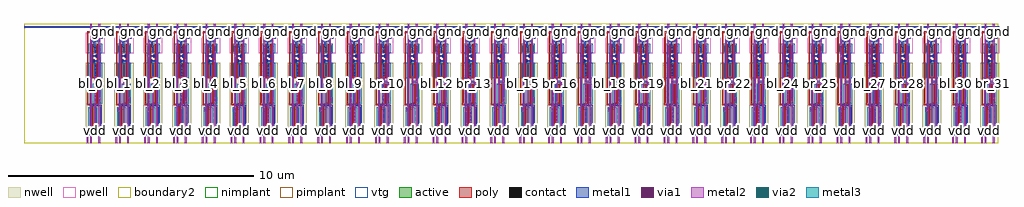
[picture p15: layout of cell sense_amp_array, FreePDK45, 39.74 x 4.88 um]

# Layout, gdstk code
import gdstk
lib = gdstk.Library(unit=1e-6, precision=5e-10)
def R(c, l, rs):  # rectangles x0, y0, x1, y1
    for r in rs: c.add(gdstk.rectangle(r[:2], r[2:], *l))
def A(c, l, x, y, w, h, nx, ny, dx, dy):  # array of equal rectangles
    R(c, l, [(x+i*dx, y+j*dy, x+i*dx+w, y+j*dy+h) for i in range(nx) for j in range(ny)])
active = (1, 0)
pwell = (2, 0)
nwell = (3, 0)
nimplant = (4, 0)
pimplant = (5, 0)
vtg = (6, 0)
poly = (9, 0)
contact = (10, 0)
metal1 = (11, 0)
via1 = (12, 0)
metal2 = (13, 0)
via2 = (14, 0)
metal3 = (15, 0)
boundary2 = (239, 0)

sense_amp = lib.new_cell('sense_amp')
R(sense_amp, active, [(0.3075,0.455,0.3975,0.545), (0.1275,0.695,0.3875,1.415), (0.1275,0.695,0.2025,1.415), (0.1275,0.695,0.2025,1.415), (0.3125,0.695,0.3875,1.415), (0.3125,0.695,0.3875,1.415), (0.1275,0.78,0.2025,1.415), (0.3125,0.78,0.3875,1.415), (0.3175,1.665,0.5775,2.385), (0.3175,1.665,0.3925,2.385), (0.3175,1.665,0.3925,2.385), (0.5025,1.665,0.5775,2.385), (0.5025,1.665,0.5775,2.385), (0.3175,1.75,0.3925,2.385), (0.5025,1.75,0.5775,2.385), (0.1275,2.7025,0.2025,3.1975), (0.1275,2.7025,0.3875,3.2425), (0.1275,2.7025,0.2025,3.2425), (0.1275,2.7025,0.2025,3.2425), (0.3125,2.7025,0.3875,3.1975), (0.3125,2.7025,0.3875,3.2425), (0.3125,2.7025,0.3875,3.2425), (0.3175,2.7025,0.3925,3.1975), (0.3175,2.7025,0.5775,3.2425), (0.3175,2.7025,0.3925,3.2425), (0.3175,2.7025,0.3925,3.2425), (0.5025,2.7025,0.5775,3.1975), (0.5025,2.7025,0.5775,3.2425), (0.5025,2.7025,0.5775,3.2425), (0.1275,3.7275,0.2025,3.9425), (0.1275,3.7275,0.3875,3.9975), (0.1275,3.7275,0.2025,3.9975), (0.1275,3.7275,0.2025,3.9975), (0.3125,3.7275,0.3875,3.9425), (0.3125,3.7275,0.3875,3.9975), (0.3125,3.7275,0.3875,3.9975), (0.3175,3.7275,0.3925,3.9425), (0.3175,3.7275,0.5775,3.9975), (0.3175,3.7275,0.3925,3.9975), (0.3175,3.7275,0.3925,3.9975), (0.5025,3.7275,0.5775,3.9425), (0.5025,3.7275,0.5775,3.9975), (0.5025,3.7275,0.5775,3.9975), (0.2275,4.185,0.3025,4.4), (0.2275,4.185,0.4875,4.455), (0.2275,4.185,0.3025,4.455), (0.2275,4.185,0.3025,4.455), (0.4125,4.185,0.4875,4.4), (0.4125,4.185,0.4875,4.455), (0.4125,4.185,0.4875,4.455), (0.58,4.295,0.67,4.385)])
R(sense_amp, pwell, [(-0.035,3.6725,0.74,4.51), (0.0725,3.6725,0.4425,4.0525), (0.2625,3.6725,0.6325,4.0525), (0.1725,4.13,0.5425,4.51), (0.525,4.24,0.725,4.44)])
R(sense_amp, nwell, [(-0.035,0.4,0.74,3.2975), (0.2525,0.4,0.4525,0.6), (0.0725,0.64,0.4425,1.47), (0.2625,1.61,0.6325,2.44), (0.0725,2.6475,0.4425,3.2975), (0.2625,2.6475,0.6325,3.2975)])
R(sense_amp, nimplant, [(0.3075,0.455,0.3975,0.545), (0.1275,3.7275,0.3875,3.9975), (0.3175,3.7275,0.5775,3.9975), (0.2275,4.185,0.4875,4.455)])
R(sense_amp, pimplant, [(0.1275,0.695,0.3875,1.415), (0.3175,1.665,0.5775,2.385), (0.1275,2.7025,0.3875,3.2425), (0.3175,2.7025,0.5775,3.2425), (0.58,4.295,0.67,4.385)])
R(sense_amp, vtg, [(0.0725,0.64,0.4425,1.47), (0.2625,1.61,0.6325,2.44), (0.0725,2.6475,0.4425,3.2975), (0.2625,2.6475,0.6325,3.2975), (0.0725,3.6725,0.4425,4.0525), (0.2625,3.6725,0.6325,4.0525), (0.1725,4.13,0.5425,4.51)])
R(sense_amp, poly, [(0.2325,0.64,0.2825,0.695), (0.2325,0.64,0.2825,1.47), (0.2325,1.415,0.2825,1.47), (0.2325,1.47,0.2825,1.56), (0.0275,1.56,0.4725,1.61), (0.0275,1.61,0.0775,4.51), (0.4225,1.61,0.4725,1.665), (0.4225,1.61,0.4725,2.44), (0.4225,2.385,0.4725,2.44), (0.2325,2.6475,0.2825,2.7025), (0.2325,2.6475,0.2825,3.2975), (0.4225,2.6475,0.4725,2.7025), (0.4225,2.6475,0.4725,3.2975), (0.2325,2.915,0.2825,3.6725), (0.4225,2.915,0.4725,3.6725), (0.2325,3.2425,0.2825,3.2975), (0.4225,3.2425,0.4725,3.2975), (0.2575,3.3275,0.3325,3.4025), (0.3725,3.5275,0.4475,3.6025), (0.2325,3.6725,0.2825,3.7275), (0.2325,3.6725,0.2825,4.0525), (0.4225,3.6725,0.4725,3.7275), (0.4225,3.6725,0.4725,4.0525), (0.2325,3.9975,0.2825,4.0525), (0.4225,3.9975,0.4725,4.0525), (0.3325,4.13,0.3825,4.185), (0.3325,4.13,0.3825,4.51), (0.3325,4.455,0.3825,4.51), (0.0275,4.51,0.3825,4.56), (0.3325,4.56,0.3825,4.765), (0.32,4.6975,0.395,4.7725)])
A(sense_amp, contact, 0.1325, 0.785, 0.065, 0.065, 1, 5, 0, 0.14)
A(sense_amp, contact, 0.3175, 0.785, 0.065, 0.065, 1, 5, 0, 0.14)
A(sense_amp, contact, 0.3225, 1.755, 0.065, 0.065, 1, 5, 0, 0.14)
A(sense_amp, contact, 0.5075, 1.755, 0.065, 0.065, 1, 5, 0, 0.14)
A(sense_amp, contact, 0.1325, 2.7075, 0.065, 0.065, 1, 4, 0, 0.14)
A(sense_amp, contact, 0.3225, 2.7075, 0.065, 0.065, 1, 4, 0, 0.14)
A(sense_amp, contact, 0.5075, 2.7075, 0.065, 0.065, 1, 4, 0, 0.14)
R(sense_amp, contact, [(0.32,0.4675,0.385,0.5325), (0.2625,3.3325,0.3275,3.3975), (0.3775,3.5325,0.4425,3.5975), (0.1325,3.7325,0.1975,3.7975), (0.3225,3.7325,0.3875,3.7975), (0.5075,3.7325,0.5725,3.7975), (0.1325,3.8725,0.1975,3.9375), (0.3225,3.8725,0.3875,3.9375), (0.5075,3.8725,0.5725,3.9375), (0.2325,4.19,0.2975,4.255), (0.4175,4.19,0.4825,4.255), (0.5925,4.3075,0.6575,4.3725), (0.2325,4.33,0.2975,4.395), (0.4175,4.33,0.4825,4.395), (0.325,4.7025,0.39,4.7675)])
R(sense_amp, metal1, [(0.0025,0.2625,0.0675,0.3975), (0.0025,0.3275,0.63,0.3975), (0.565,0.3275,0.63,1.575), (0.285,0.4675,0.42,0.5325), (0.32,0.4675,0.385,0.6025), (0.1325,0.75,0.1975,1.445), (0.3175,0.75,0.3825,1.445), (0.1275,1.31,0.1925,1.445), (0.32,1.3775,0.385,1.575), (0.1325,1.51,0.63,1.575), (0.1325,1.575,0.1975,2.6725), (0.3225,1.72,0.3875,2.415), (0.5075,1.72,0.5725,2.415), (0.51,1.72,0.575,1.855), (0.3225,2.35,0.3875,2.545), (0.3225,2.48,0.5725,2.545), (0.5075,2.48,0.5725,2.675), (0.32,2.61,0.385,2.745), (0.1325,2.6725,0.1975,3.2275), (0.3175,2.6725,0.3825,3.2275), (0.3225,2.6725,0.3875,3.2275), (0.5075,2.6725,0.5725,3.2275), (0.1325,2.835,0.1975,3.7025), (0.5075,2.835,0.5725,3.6975), (0.2625,3.2975,0.3275,3.4325), (0.2825,3.3325,0.5725,3.3975), (0.3775,3.4975,0.4425,3.6325), (0.1325,3.5325,0.4225,3.5975), (0.1325,3.6975,0.1975,3.9725), (0.3175,3.6975,0.3825,3.9725), (0.3225,3.6975,0.3875,3.9725), (0.5075,3.6975,0.5725,3.9725), (0.2825,3.915,0.3525,4.2425), (0.2325,4.155,0.2975,4.43), (0.4175,4.155,0.4825,4.43), (0.5925,4.2725,0.6575,4.4075), (0.5925,4.4075,0.6575,4.6375), (0.4175,4.42,0.4825,4.5725), (0.6575,4.5025,0.6725,4.5725), (0.6725,4.5025,0.7375,4.6375), (0.4175,4.5725,0.74,4.6375), (-0.035,4.7025,0.74,4.7675), (-0.035,4.7025,0.74,4.7675), (0.23,4.7025,0.295,4.7675), (0.29,4.7025,0.425,4.7675)])
R(sense_amp, via1, [(0.0025,0.2975,0.0675,0.3625), (0.32,0.5025,0.385,0.5675), (0.1275,1.345,0.1925,1.41), (0.51,1.755,0.575,1.82), (0.32,2.645,0.385,2.71), (0.6725,4.5375,0.7375,4.6025)])
R(sense_amp, metal2, [(0,0,0.07,0.3975), (0,0,0.07,0.3975), (0.15,0,0.22,4.885), (0.15,0,0.22,4.885), (0.485,0,0.555,4.885), (0.485,0,0.555,4.885), (0.3175,0.4675,0.3875,0.6025), (0.3175,0.4675,0.3875,0.6025), (0.3175,0.6,0.3875,2.61), (0.125,1.31,0.195,1.445), (0.5075,1.72,0.5775,1.855), (0.3175,2.61,0.3875,2.745), (0.67,4.5025,0.74,4.6375), (0.67,4.5025,0.74,4.6375)])
R(sense_amp, boundary2, [(0,0,0.705,4.885)])
sense_amp.add(gdstk.Label('en', (0.258,4.735), layer=11, texttype=0))
sense_amp.add(gdstk.Label('dout', (0.0345,0.023), layer=13, texttype=0))
sense_amp.add(gdstk.Label('gnd', (0.7025,4.61), layer=13, texttype=0))
sense_amp.add(gdstk.Label('br', (0.52,0.023), layer=13, texttype=0))
sense_amp.add(gdstk.Label('bl', (0.19,0.03), layer=13, texttype=0))
sense_amp.add(gdstk.Label('vdd', (0.3525,0.505), layer=13, texttype=0))
sense_amp.add(gdstk.Label('bl', (0.185,2.4425), layer=13, texttype=0))
sense_amp.add(gdstk.Label('br', (0.52,2.4425), layer=13, texttype=0))
sense_amp.add(gdstk.Label('dout', (0.035,0.199), layer=13, texttype=0))
sense_amp.add(gdstk.Label('en', (0.3525,4.735), layer=11, texttype=0))
sense_amp.add(gdstk.Label('vdd', (0.3525,0.535), layer=13, texttype=0))
sense_amp.add(gdstk.Label('gnd', (0.705,4.57), layer=13, texttype=0))

contact_17 = lib.new_cell('contact_17')
R(contact_17, metal2, [(0.0325,0,0.1025,0.135)])
R(contact_17, via2, [(0.035,0.035,0.1,0.1)])
R(contact_17, metal3, [(0,0.0325,0.135,0.1025)])
R(contact_17, boundary2, [(0,0,0.135,0.135)])

sense_amp_array = lib.new_cell('sense_amp_array')
A(sense_amp_array, metal1, 2.865, 4.7025, 0.065, 0.065, 32, 1, 1.175, 0)
R(sense_amp_array, metal1, [(0,4.7025,39.675,4.7675)])
A(sense_amp_array, metal2, 2.545, 0, 0.07, 0.3975, 32, 1, 1.175, 0)
R(sense_amp_array, metal2, [(2.695,0,2.765,4.885), (3.03,0,3.1,4.885), (3.87,0,3.94,4.885), (4.205,0,4.275,4.885), (5.045,0,5.115,4.885), (5.38,0,5.45,4.885), (6.22,0,6.29,4.885), (6.555,0,6.625,4.885), (7.395,0,7.465,4.885), (7.73,0,7.8,4.885), (8.57,0,8.64,4.885), (8.905,0,8.975,4.885), (9.745,0,9.815,4.885), (10.08,0,10.15,4.885), (10.92,0,10.99,4.885), (11.255,0,11.325,4.885), (12.095,0,12.165,4.885), (12.43,0,12.5,4.885), (13.27,0,13.34,4.885), (13.605,0,13.675,4.885), (14.445,0,14.515,4.885), (14.78,0,14.85,4.885), (15.62,0,15.69,4.885), (15.955,0,16.025,4.885), (16.795,0,16.865,4.885), (17.13,0,17.2,4.885), (17.97,0,18.04,4.885), (18.305,0,18.375,4.885), (19.145,0,19.215,4.885), (19.48,0,19.55,4.885), (20.32,0,20.39,4.885), (20.655,0,20.725,4.885), (21.495,0,21.565,4.885), (21.83,0,21.9,4.885), (22.67,0,22.74,4.885), (23.005,0,23.075,4.885), (23.845,0,23.915,4.885), (24.18,0,24.25,4.885), (25.02,0,25.09,4.885), (25.355,0,25.425,4.885), (26.195,0,26.265,4.885), (26.53,0,26.6,4.885), (27.37,0,27.44,4.885), (27.705,0,27.775,4.885), (28.545,0,28.615,4.885), (28.88,0,28.95,4.885), (29.72,0,29.79,4.885), (30.055,0,30.125,4.885), (30.895,0,30.965,4.885), (31.23,0,31.3,4.885), (32.07,0,32.14,4.885), (32.405,0,32.475,4.885), (33.245,0,33.315,4.885), (33.58,0,33.65,4.885), (34.42,0,34.49,4.885), (34.755,0,34.825,4.885), (35.595,0,35.665,4.885), (35.93,0,36,4.885), (36.77,0,36.84,4.885), (37.105,0,37.175,4.885), (37.945,0,38.015,4.885), (38.28,0,38.35,4.885), (39.12,0,39.19,4.885), (39.455,0,39.525,4.885)])
A(sense_amp_array, metal3, 2.83, 0.4675, 0.135, 0.135, 32, 1, 1.175, 0)
A(sense_amp_array, metal3, 3.1825, 4.5025, 0.135, 0.135, 32, 1, 1.175, 0)
R(sense_amp_array, boundary2, [(0,0,39.675,4.885)])
sense_amp_array.add(gdstk.Reference(sense_amp, (2.545,0)))
sense_amp_array.add(gdstk.Reference(sense_amp, (3.72,0)))
sense_amp_array.add(gdstk.Reference(sense_amp, (4.895,0)))
sense_amp_array.add(gdstk.Reference(sense_amp, (6.07,0)))
sense_amp_array.add(gdstk.Reference(sense_amp, (7.245,0)))
sense_amp_array.add(gdstk.Reference(sense_amp, (8.42,0)))
sense_amp_array.add(gdstk.Reference(sense_amp, (9.595,0)))
sense_amp_array.add(gdstk.Reference(sense_amp, (10.77,0)))
sense_amp_array.add(gdstk.Reference(sense_amp, (11.945,0)))
sense_amp_array.add(gdstk.Reference(sense_amp, (13.12,0)))
sense_amp_array.add(gdstk.Reference(sense_amp, (14.295,0)))
sense_amp_array.add(gdstk.Reference(sense_amp, (15.47,0)))
sense_amp_array.add(gdstk.Reference(sense_amp, (16.645,0)))
sense_amp_array.add(gdstk.Reference(sense_amp, (17.82,0)))
sense_amp_array.add(gdstk.Reference(sense_amp, (18.995,0)))
sense_amp_array.add(gdstk.Reference(sense_amp, (20.17,0)))
sense_amp_array.add(gdstk.Reference(sense_amp, (21.345,0)))
sense_amp_array.add(gdstk.Reference(sense_amp, (22.52,0)))
sense_amp_array.add(gdstk.Reference(sense_amp, (23.695,0)))
sense_amp_array.add(gdstk.Reference(sense_amp, (24.87,0)))
sense_amp_array.add(gdstk.Reference(sense_amp, (26.045,0)))
sense_amp_array.add(gdstk.Reference(sense_amp, (27.22,0)))
sense_amp_array.add(gdstk.Reference(sense_amp, (28.395,0)))
sense_amp_array.add(gdstk.Reference(sense_amp, (29.57,0)))
sense_amp_array.add(gdstk.Reference(sense_amp, (30.745,0)))
sense_amp_array.add(gdstk.Reference(sense_amp, (31.92,0)))
sense_amp_array.add(gdstk.Reference(sense_amp, (33.095,0)))
sense_amp_array.add(gdstk.Reference(sense_amp, (34.27,0)))
sense_amp_array.add(gdstk.Reference(sense_amp, (35.445,0)))
sense_amp_array.add(gdstk.Reference(sense_amp, (36.62,0)))
sense_amp_array.add(gdstk.Reference(sense_amp, (37.795,0)))
sense_amp_array.add(gdstk.Reference(sense_amp, (38.97,0)))
sense_amp_array.add(gdstk.Reference(contact_17, (3.1825,4.5025)))
sense_amp_array.add(gdstk.Reference(contact_17, (2.83,0.4675)))
sense_amp_array.add(gdstk.Reference(contact_17, (4.3575,4.5025)))
sense_amp_array.add(gdstk.Reference(contact_17, (4.005,0.4675)))
sense_amp_array.add(gdstk.Reference(contact_17, (5.5325,4.5025)))
sense_amp_array.add(gdstk.Reference(contact_17, (5.18,0.4675)))
sense_amp_array.add(gdstk.Reference(contact_17, (6.7075,4.5025)))
sense_amp_array.add(gdstk.Reference(contact_17, (6.355,0.4675)))
sense_amp_array.add(gdstk.Reference(contact_17, (7.8825,4.5025)))
sense_amp_array.add(gdstk.Reference(contact_17, (7.53,0.4675)))
sense_amp_array.add(gdstk.Reference(contact_17, (9.0575,4.5025)))
sense_amp_array.add(gdstk.Reference(contact_17, (8.705,0.4675)))
sense_amp_array.add(gdstk.Reference(contact_17, (10.2325,4.5025)))
sense_amp_array.add(gdstk.Reference(contact_17, (9.88,0.4675)))
sense_amp_array.add(gdstk.Reference(contact_17, (11.4075,4.5025)))
sense_amp_array.add(gdstk.Reference(contact_17, (11.055,0.4675)))
sense_amp_array.add(gdstk.Reference(contact_17, (12.5825,4.5025)))
sense_amp_array.add(gdstk.Reference(contact_17, (12.23,0.4675)))
sense_amp_array.add(gdstk.Reference(contact_17, (13.7575,4.5025)))
sense_amp_array.add(gdstk.Reference(contact_17, (13.405,0.4675)))
sense_amp_array.add(gdstk.Reference(contact_17, (14.9325,4.5025)))
sense_amp_array.add(gdstk.Reference(contact_17, (14.58,0.4675)))
sense_amp_array.add(gdstk.Reference(contact_17, (16.1075,4.5025)))
sense_amp_array.add(gdstk.Reference(contact_17, (15.755,0.4675)))
sense_amp_array.add(gdstk.Reference(contact_17, (17.2825,4.5025)))
sense_amp_array.add(gdstk.Reference(contact_17, (16.93,0.4675)))
sense_amp_array.add(gdstk.Reference(contact_17, (18.4575,4.5025)))
sense_amp_array.add(gdstk.Reference(contact_17, (18.105,0.4675)))
sense_amp_array.add(gdstk.Reference(contact_17, (19.6325,4.5025)))
sense_amp_array.add(gdstk.Reference(contact_17, (19.28,0.4675)))
sense_amp_array.add(gdstk.Reference(contact_17, (20.8075,4.5025)))
sense_amp_array.add(gdstk.Reference(contact_17, (20.455,0.4675)))
sense_amp_array.add(gdstk.Reference(contact_17, (21.9825,4.5025)))
sense_amp_array.add(gdstk.Reference(contact_17, (21.63,0.4675)))
sense_amp_array.add(gdstk.Reference(contact_17, (23.1575,4.5025)))
sense_amp_array.add(gdstk.Reference(contact_17, (22.805,0.4675)))
sense_amp_array.add(gdstk.Reference(contact_17, (24.3325,4.5025)))
sense_amp_array.add(gdstk.Reference(contact_17, (23.98,0.4675)))
sense_amp_array.add(gdstk.Reference(contact_17, (25.5075,4.5025)))
sense_amp_array.add(gdstk.Reference(contact_17, (25.155,0.4675)))
sense_amp_array.add(gdstk.Reference(contact_17, (26.6825,4.5025)))
sense_amp_array.add(gdstk.Reference(contact_17, (26.33,0.4675)))
sense_amp_array.add(gdstk.Reference(contact_17, (27.8575,4.5025)))
sense_amp_array.add(gdstk.Reference(contact_17, (27.505,0.4675)))
sense_amp_array.add(gdstk.Reference(contact_17, (29.0325,4.5025)))
sense_amp_array.add(gdstk.Reference(contact_17, (28.68,0.4675)))
sense_amp_array.add(gdstk.Reference(contact_17, (30.2075,4.5025)))
sense_amp_array.add(gdstk.Reference(contact_17, (29.855,0.4675)))
sense_amp_array.add(gdstk.Reference(contact_17, (31.3825,4.5025)))
sense_amp_array.add(gdstk.Reference(contact_17, (31.03,0.4675)))
sense_amp_array.add(gdstk.Reference(contact_17, (32.5575,4.5025)))
sense_amp_array.add(gdstk.Reference(contact_17, (32.205,0.4675)))
sense_amp_array.add(gdstk.Reference(contact_17, (33.7325,4.5025)))
sense_amp_array.add(gdstk.Reference(contact_17, (33.38,0.4675)))
sense_amp_array.add(gdstk.Reference(contact_17, (34.9075,4.5025)))
sense_amp_array.add(gdstk.Reference(contact_17, (34.555,0.4675)))
sense_amp_array.add(gdstk.Reference(contact_17, (36.0825,4.5025)))
sense_amp_array.add(gdstk.Reference(contact_17, (35.73,0.4675)))
sense_amp_array.add(gdstk.Reference(contact_17, (37.2575,4.5025)))
sense_amp_array.add(gdstk.Reference(contact_17, (36.905,0.4675)))
sense_amp_array.add(gdstk.Reference(contact_17, (38.4325,4.5025)))
sense_amp_array.add(gdstk.Reference(contact_17, (38.08,0.4675)))
sense_amp_array.add(gdstk.Reference(contact_17, (39.6075,4.5025)))
sense_amp_array.add(gdstk.Reference(contact_17, (39.255,0.4675)))
sense_amp_array.add(gdstk.Label('gnd', (29.1,4.57), layer=15, texttype=0))
sense_amp_array.add(gdstk.Label('gnd', (7.95,4.57), layer=15, texttype=0))
sense_amp_array.add(gdstk.Label('gnd', (32.625,4.57), layer=15, texttype=0))
sense_amp_array.add(gdstk.Label('gnd', (12.65,4.57), layer=15, texttype=0))
sense_amp_array.add(gdstk.Label('gnd', (17.35,4.57), layer=15, texttype=0))
sense_amp_array.add(gdstk.Label('gnd', (33.8,4.57), layer=15, texttype=0))
sense_amp_array.add(gdstk.Label('gnd', (18.525,4.57), layer=15, texttype=0))
sense_amp_array.add(gdstk.Label('gnd', (13.825,4.57), layer=15, texttype=0))
sense_amp_array.add(gdstk.Label('gnd', (31.45,4.57), layer=15, texttype=0))
sense_amp_array.add(gdstk.Label('gnd', (25.575,4.57), layer=15, texttype=0))
sense_amp_array.add(gdstk.Label('gnd', (36.15,4.57), layer=15, texttype=0))
sense_amp_array.add(gdstk.Label('gnd', (22.05,4.57), layer=15, texttype=0))
sense_amp_array.add(gdstk.Label('gnd', (24.4,4.57), layer=15, texttype=0))
sense_amp_array.add(gdstk.Label('gnd', (10.3,4.57), layer=15, texttype=0))
sense_amp_array.add(gdstk.Label('gnd', (16.175,4.57), layer=15, texttype=0))
sense_amp_array.add(gdstk.Label('gnd', (5.6,4.57), layer=15, texttype=0))
sense_amp_array.add(gdstk.Label('gnd', (4.425,4.57), layer=15, texttype=0))
sense_amp_array.add(gdstk.Label('gnd', (15,4.57), layer=15, texttype=0))
sense_amp_array.add(gdstk.Label('gnd', (37.325,4.57), layer=15, texttype=0))
sense_amp_array.add(gdstk.Label('gnd', (39.675,4.57), layer=15, texttype=0))
sense_amp_array.add(gdstk.Label('gnd', (34.975,4.57), layer=15, texttype=0))
sense_amp_array.add(gdstk.Label('gnd', (38.5,4.57), layer=15, texttype=0))
sense_amp_array.add(gdstk.Label('gnd', (3.25,4.57), layer=15, texttype=0))
sense_amp_array.add(gdstk.Label('gnd', (23.225,4.57), layer=15, texttype=0))
sense_amp_array.add(gdstk.Label('gnd', (19.7,4.57), layer=15, texttype=0))
sense_amp_array.add(gdstk.Label('gnd', (11.475,4.57), layer=15, texttype=0))
sense_amp_array.add(gdstk.Label('gnd', (27.925,4.57), layer=15, texttype=0))
sense_amp_array.add(gdstk.Label('gnd', (30.275,4.57), layer=15, texttype=0))
sense_amp_array.add(gdstk.Label('gnd', (20.875,4.57), layer=15, texttype=0))
sense_amp_array.add(gdstk.Label('gnd', (9.125,4.57), layer=15, texttype=0))
sense_amp_array.add(gdstk.Label('gnd', (26.75,4.57), layer=15, texttype=0))
sense_amp_array.add(gdstk.Label('gnd', (6.775,4.57), layer=15, texttype=0))
sense_amp_array.add(gdstk.Label('vdd', (21.6975,0.535), layer=15, texttype=0))
sense_amp_array.add(gdstk.Label('vdd', (16.9975,0.535), layer=15, texttype=0))
sense_amp_array.add(gdstk.Label('vdd', (15.8225,0.535), layer=15, texttype=0))
sense_amp_array.add(gdstk.Label('vdd', (19.3475,0.535), layer=15, texttype=0))
sense_amp_array.add(gdstk.Label('vdd', (24.0475,0.535), layer=15, texttype=0))
sense_amp_array.add(gdstk.Label('vdd', (13.4725,0.535), layer=15, texttype=0))
sense_amp_array.add(gdstk.Label('vdd', (11.1225,0.535), layer=15, texttype=0))
sense_amp_array.add(gdstk.Label('vdd', (20.5225,0.535), layer=15, texttype=0))
sense_amp_array.add(gdstk.Label('vdd', (22.8725,0.535), layer=15, texttype=0))
sense_amp_array.add(gdstk.Label('vdd', (25.2225,0.535), layer=15, texttype=0))
sense_amp_array.add(gdstk.Label('vdd', (33.4475,0.535), layer=15, texttype=0))
sense_amp_array.add(gdstk.Label('vdd', (38.1475,0.535), layer=15, texttype=0))
sense_amp_array.add(gdstk.Label('vdd', (9.9475,0.535), layer=15, texttype=0))
sense_amp_array.add(gdstk.Label('vdd', (36.9725,0.535), layer=15, texttype=0))
sense_amp_array.add(gdstk.Label('vdd', (14.6475,0.535), layer=15, texttype=0))
sense_amp_array.add(gdstk.Label('vdd', (18.1725,0.535), layer=15, texttype=0))
sense_amp_array.add(gdstk.Label('vdd', (35.7975,0.535), layer=15, texttype=0))
sense_amp_array.add(gdstk.Label('vdd', (39.3225,0.535), layer=15, texttype=0))
sense_amp_array.add(gdstk.Label('vdd', (29.9225,0.535), layer=15, texttype=0))
sense_amp_array.add(gdstk.Label('vdd', (28.7475,0.535), layer=15, texttype=0))
sense_amp_array.add(gdstk.Label('vdd', (12.2975,0.535), layer=15, texttype=0))
sense_amp_array.add(gdstk.Label('vdd', (8.7725,0.535), layer=15, texttype=0))
sense_amp_array.add(gdstk.Label('vdd', (32.2725,0.535), layer=15, texttype=0))
sense_amp_array.add(gdstk.Label('vdd', (7.5975,0.535), layer=15, texttype=0))
sense_amp_array.add(gdstk.Label('vdd', (6.4225,0.535), layer=15, texttype=0))
sense_amp_array.add(gdstk.Label('vdd', (27.5725,0.535), layer=15, texttype=0))
sense_amp_array.add(gdstk.Label('vdd', (5.2475,0.535), layer=15, texttype=0))
sense_amp_array.add(gdstk.Label('vdd', (26.3975,0.535), layer=15, texttype=0))
sense_amp_array.add(gdstk.Label('vdd', (2.8975,0.535), layer=15, texttype=0))
sense_amp_array.add(gdstk.Label('vdd', (31.0975,0.535), layer=15, texttype=0))
sense_amp_array.add(gdstk.Label('vdd', (34.6225,0.535), layer=15, texttype=0))
sense_amp_array.add(gdstk.Label('vdd', (4.0725,0.535), layer=15, texttype=0))
sense_amp_array.add(gdstk.Label('bl_0', (2.73,2.4425), layer=13, texttype=0))
sense_amp_array.add(gdstk.Label('br_0', (3.065,2.4425), layer=13, texttype=0))
sense_amp_array.add(gdstk.Label('data_0', (2.58,0.199), layer=13, texttype=0))
sense_amp_array.add(gdstk.Label('bl_1', (3.905,2.4425), layer=13, texttype=0))
sense_amp_array.add(gdstk.Label('br_1', (4.24,2.4425), layer=13, texttype=0))
sense_amp_array.add(gdstk.Label('data_1', (3.755,0.199), layer=13, texttype=0))
sense_amp_array.add(gdstk.Label('bl_2', (5.08,2.4425), layer=13, texttype=0))
sense_amp_array.add(gdstk.Label('br_2', (5.415,2.4425), layer=13, texttype=0))
sense_amp_array.add(gdstk.Label('data_2', (4.93,0.199), layer=13, texttype=0))
sense_amp_array.add(gdstk.Label('bl_3', (6.255,2.4425), layer=13, texttype=0))
sense_amp_array.add(gdstk.Label('br_3', (6.59,2.4425), layer=13, texttype=0))
sense_amp_array.add(gdstk.Label('data_3', (6.105,0.199), layer=13, texttype=0))
sense_amp_array.add(gdstk.Label('bl_4', (7.43,2.4425), layer=13, texttype=0))
sense_amp_array.add(gdstk.Label('br_4', (7.765,2.4425), layer=13, texttype=0))
sense_amp_array.add(gdstk.Label('data_4', (7.28,0.199), layer=13, texttype=0))
sense_amp_array.add(gdstk.Label('bl_5', (8.605,2.4425), layer=13, texttype=0))
sense_amp_array.add(gdstk.Label('br_5', (8.94,2.4425), layer=13, texttype=0))
sense_amp_array.add(gdstk.Label('data_5', (8.455,0.199), layer=13, texttype=0))
sense_amp_array.add(gdstk.Label('bl_6', (9.78,2.4425), layer=13, texttype=0))
sense_amp_array.add(gdstk.Label('br_6', (10.115,2.4425), layer=13, texttype=0))
sense_amp_array.add(gdstk.Label('data_6', (9.63,0.199), layer=13, texttype=0))
sense_amp_array.add(gdstk.Label('bl_7', (10.955,2.4425), layer=13, texttype=0))
sense_amp_array.add(gdstk.Label('br_7', (11.29,2.4425), layer=13, texttype=0))
sense_amp_array.add(gdstk.Label('data_7', (10.805,0.199), layer=13, texttype=0))
sense_amp_array.add(gdstk.Label('bl_8', (12.13,2.4425), layer=13, texttype=0))
sense_amp_array.add(gdstk.Label('br_8', (12.465,2.4425), layer=13, texttype=0))
sense_amp_array.add(gdstk.Label('data_8', (11.98,0.199), layer=13, texttype=0))
sense_amp_array.add(gdstk.Label('bl_9', (13.305,2.4425), layer=13, texttype=0))
sense_amp_array.add(gdstk.Label('br_9', (13.64,2.4425), layer=13, texttype=0))
sense_amp_array.add(gdstk.Label('data_9', (13.155,0.199), layer=13, texttype=0))
sense_amp_array.add(gdstk.Label('bl_10', (14.48,2.4425), layer=13, texttype=0))
sense_amp_array.add(gdstk.Label('br_10', (14.815,2.4425), layer=13, texttype=0))
sense_amp_array.add(gdstk.Label('data_10', (14.33,0.199), layer=13, texttype=0))
sense_amp_array.add(gdstk.Label('bl_11', (15.655,2.4425), layer=13, texttype=0))
sense_amp_array.add(gdstk.Label('br_11', (15.99,2.4425), layer=13, texttype=0))
sense_amp_array.add(gdstk.Label('data_11', (15.505,0.199), layer=13, texttype=0))
sense_amp_array.add(gdstk.Label('bl_12', (16.83,2.4425), layer=13, texttype=0))
sense_amp_array.add(gdstk.Label('br_12', (17.165,2.4425), layer=13, texttype=0))
sense_amp_array.add(gdstk.Label('data_12', (16.68,0.199), layer=13, texttype=0))
sense_amp_array.add(gdstk.Label('bl_13', (18.005,2.4425), layer=13, texttype=0))
sense_amp_array.add(gdstk.Label('br_13', (18.34,2.4425), layer=13, texttype=0))
sense_amp_array.add(gdstk.Label('data_13', (17.855,0.199), layer=13, texttype=0))
sense_amp_array.add(gdstk.Label('bl_14', (19.18,2.4425), layer=13, texttype=0))
sense_amp_array.add(gdstk.Label('br_14', (19.515,2.4425), layer=13, texttype=0))
sense_amp_array.add(gdstk.Label('data_14', (19.03,0.199), layer=13, texttype=0))
sense_amp_array.add(gdstk.Label('bl_15', (20.355,2.4425), layer=13, texttype=0))
sense_amp_array.add(gdstk.Label('br_15', (20.69,2.4425), layer=13, texttype=0))
sense_amp_array.add(gdstk.Label('data_15', (20.205,0.199), layer=13, texttype=0))
sense_amp_array.add(gdstk.Label('bl_16', (21.53,2.4425), layer=13, texttype=0))
sense_amp_array.add(gdstk.Label('br_16', (21.865,2.4425), layer=13, texttype=0))
sense_amp_array.add(gdstk.Label('data_16', (21.38,0.199), layer=13, texttype=0))
sense_amp_array.add(gdstk.Label('bl_17', (22.705,2.4425), layer=13, texttype=0))
sense_amp_array.add(gdstk.Label('br_17', (23.04,2.4425), layer=13, texttype=0))
sense_amp_array.add(gdstk.Label('data_17', (22.555,0.199), layer=13, texttype=0))
sense_amp_array.add(gdstk.Label('bl_18', (23.88,2.4425), layer=13, texttype=0))
sense_amp_array.add(gdstk.Label('br_18', (24.215,2.4425), layer=13, texttype=0))
sense_amp_array.add(gdstk.Label('data_18', (23.73,0.199), layer=13, texttype=0))
sense_amp_array.add(gdstk.Label('bl_19', (25.055,2.4425), layer=13, texttype=0))
sense_amp_array.add(gdstk.Label('br_19', (25.39,2.4425), layer=13, texttype=0))
sense_amp_array.add(gdstk.Label('data_19', (24.905,0.199), layer=13, texttype=0))
sense_amp_array.add(gdstk.Label('bl_20', (26.23,2.4425), layer=13, texttype=0))
sense_amp_array.add(gdstk.Label('br_20', (26.565,2.4425), layer=13, texttype=0))
sense_amp_array.add(gdstk.Label('data_20', (26.08,0.199), layer=13, texttype=0))
sense_amp_array.add(gdstk.Label('bl_21', (27.405,2.4425), layer=13, texttype=0))
sense_amp_array.add(gdstk.Label('br_21', (27.74,2.4425), layer=13, texttype=0))
sense_amp_array.add(gdstk.Label('data_21', (27.255,0.199), layer=13, texttype=0))
sense_amp_array.add(gdstk.Label('bl_22', (28.58,2.4425), layer=13, texttype=0))
sense_amp_array.add(gdstk.Label('br_22', (28.915,2.4425), layer=13, texttype=0))
sense_amp_array.add(gdstk.Label('data_22', (28.43,0.199), layer=13, texttype=0))
sense_amp_array.add(gdstk.Label('bl_23', (29.755,2.4425), layer=13, texttype=0))
sense_amp_array.add(gdstk.Label('br_23', (30.09,2.4425), layer=13, texttype=0))
sense_amp_array.add(gdstk.Label('data_23', (29.605,0.199), layer=13, texttype=0))
sense_amp_array.add(gdstk.Label('bl_24', (30.93,2.4425), layer=13, texttype=0))
sense_amp_array.add(gdstk.Label('br_24', (31.265,2.4425), layer=13, texttype=0))
sense_amp_array.add(gdstk.Label('data_24', (30.78,0.199), layer=13, texttype=0))
sense_amp_array.add(gdstk.Label('bl_25', (32.105,2.4425), layer=13, texttype=0))
sense_amp_array.add(gdstk.Label('br_25', (32.44,2.4425), layer=13, texttype=0))
sense_amp_array.add(gdstk.Label('data_25', (31.955,0.199), layer=13, texttype=0))
sense_amp_array.add(gdstk.Label('bl_26', (33.28,2.4425), layer=13, texttype=0))
sense_amp_array.add(gdstk.Label('br_26', (33.615,2.4425), layer=13, texttype=0))
sense_amp_array.add(gdstk.Label('data_26', (33.13,0.199), layer=13, texttype=0))
sense_amp_array.add(gdstk.Label('bl_27', (34.455,2.4425), layer=13, texttype=0))
sense_amp_array.add(gdstk.Label('br_27', (34.79,2.4425), layer=13, texttype=0))
sense_amp_array.add(gdstk.Label('data_27', (34.305,0.199), layer=13, texttype=0))
sense_amp_array.add(gdstk.Label('bl_28', (35.63,2.4425), layer=13, texttype=0))
sense_amp_array.add(gdstk.Label('br_28', (35.965,2.4425), layer=13, texttype=0))
sense_amp_array.add(gdstk.Label('data_28', (35.48,0.199), layer=13, texttype=0))
sense_amp_array.add(gdstk.Label('bl_29', (36.805,2.4425), layer=13, texttype=0))
sense_amp_array.add(gdstk.Label('br_29', (37.14,2.4425), layer=13, texttype=0))
sense_amp_array.add(gdstk.Label('data_29', (36.655,0.199), layer=13, texttype=0))
sense_amp_array.add(gdstk.Label('bl_30', (37.98,2.4425), layer=13, texttype=0))
sense_amp_array.add(gdstk.Label('br_30', (38.315,2.4425), layer=13, texttype=0))
sense_amp_array.add(gdstk.Label('data_30', (37.83,0.199), layer=13, texttype=0))
sense_amp_array.add(gdstk.Label('bl_31', (39.155,2.4425), layer=13, texttype=0))
sense_amp_array.add(gdstk.Label('br_31', (39.49,2.4425), layer=13, texttype=0))
sense_amp_array.add(gdstk.Label('data_31', (39.005,0.199), layer=13, texttype=0))
sense_amp_array.add(gdstk.Label('en', (19.8375,4.735), layer=11, texttype=0))

lib.write_gds('sense_amp_array.gds')
